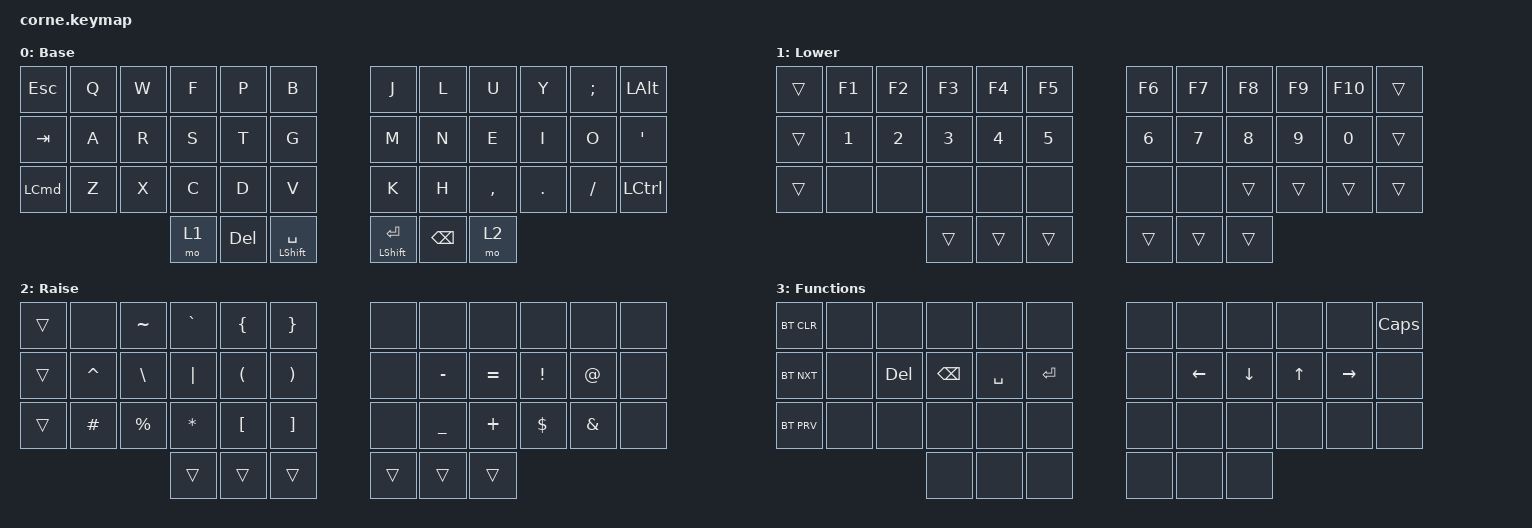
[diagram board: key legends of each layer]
/*
 * Copyright (c) 2020 The ZMK Contributors
 *
 * SPDX-License-Identifier: MIT
 */

#include <behaviors.dtsi>
#include <dt-bindings/zmk/bt.h>
#include <dt-bindings/zmk/keys.h>

/ {
    behaviors {
        spaceshift: spaceshift {
            compatible = "zmk,behavior-hold-tap";
            label = "SPACESHIFT";
            bindings = <&kp>, <&kp>;

            #binding-cells = <2>;
            flavor = "tap-preferred";
            tapping-term-ms = <200>;
            hold-trigger-key-positions = <38>;
        };
    };

    keymap {
        compatible = "zmk,keymap";

        default_layer {
            // -----------------------------------------------------------------------------------------
            // |  TAB |  Q  |  W  |  E  |  R  |  T  |   |  Y  |  U   |  I  |  O  |  P  | BKSP |
            // | CTRL |  A  |  S  |  D  |  F  |  G  |   |  H  |  J   |  K  |  L  |  ;  |  '   |
            // | SHFT |  Z  |  X  |  C  |  V  |  B  |   |  N  |  M   |  ,  |  .  |  /  | ESC  |
            //                    | GUI | LWR | SPC |   | ENT | RSE  | ALT |

            display-name = "Base";
            bindings = <
&kp ESCAPE        &kp Q  &kp W  &kp F  &kp P    &kp B                           &kp J                 &kp L          &kp U      &kp Y    &kp SEMICOLON  &kp LEFT_ALT
&kp TAB           &kp A  &kp R  &kp S  &kp T    &kp G                           &kp M                 &kp N          &kp E      &kp I    &kp O          &kp SINGLE_QUOTE
&kp LEFT_COMMAND  &kp Z  &kp X  &kp C  &kp D    &kp V                           &kp K                 &kp H          &kp COMMA  &kp DOT  &kp FSLH       &kp LEFT_CONTROL
                                &mo 1  &kp DEL  &spaceshift LEFT_SHIFT SPACE    &mt LEFT_SHIFT ENTER  &kp BACKSPACE  &mo 2
            >;
        };

        lower_layer {
            // -----------------------------------------------------------------------------------------
            // |  TAB |  1  |  2  |  3  |  4  |  5  |   |  6  |  7  |  8  |  9  |  0  | BKSP |
            // | BTCLR| BT1 | BT2 | BT3 | BT4 | BT5 |   | LFT | DWN |  UP | RGT |     |      |
            // | SHFT |     |     |     |     |     |   |     |     |     |     |     |      |
            //                    | GUI |     | SPC |   | ENT |     | ALT |

            display-name = "Lower";
            bindings = <
&trans  &kp F1  &kp F2  &kp F3  &kp F4  &kp F5    &kp F6        &kp F7  &kp F8  &kp F9  &kp F10  &trans
&trans  &kp N1  &kp N2  &kp N3  &kp N4  &kp N5    &kp NUMBER_6  &kp N7  &kp N8  &kp N9  &kp N0   &trans
&trans  &none   &none   &none   &none   &none     &none         &none   &trans  &trans  &trans   &trans
                        &trans  &trans  &trans    &trans        &trans  &trans
            >;
        };

        raise_layer {
            // -----------------------------------------------------------------------------------------
            // |  TAB |  !  |  @  |  #  |  $  |  %  |   |  ^  |  &  |  *  |  (  |  )  | BKSP |
            // | CTRL |     |     |     |     |     |   |  -  |  =  |  [  |  ]  |  \  |  `   |
            // | SHFT |     |     |     |     |     |   |  _  |  +  |  {  |  }  | "|" |  ~   |
            //                    | GUI |     | SPC |   | ENT |     | ALT |

            display-name = "Raise";
            bindings = <
&trans  &none      &kp TILDE      &kp GRAVE  &kp LEFT_BRACE        &kp RIGHT_BRACE          &none   &none           &none      &none       &none     &none
&trans  &kp CARET  &kp BACKSLASH  &kp PIPE   &kp LEFT_PARENTHESIS  &kp RIGHT_PARENTHESIS    &none   &kp MINUS       &kp EQUAL  &kp EXCL    &kp AT    &none
&trans  &kp HASH   &kp PERCENT    &kp STAR   &kp LEFT_BRACKET      &kp RIGHT_BRACKET        &none   &kp UNDERSCORE  &kp PLUS   &kp DOLLAR  &kp AMPS  &none
                                  &trans     &trans                &trans                   &trans  &trans          &trans
            >;
        };

        Functions {
            display-name = "Functions";
            bindings = <
&bt BT_CLR  &none  &none       &none          &none      &none        &none  &none     &none     &none   &none      &kp CAPSLOCK
&bt BT_NXT  &none  &kp DELETE  &kp BACKSPACE  &kp SPACE  &kp ENTER    &none  &kp LEFT  &kp DOWN  &kp UP  &kp RIGHT  &none
&bt BT_PRV  &none  &none       &none          &none      &none        &none  &none     &none     &none   &none      &none
                               &none          &none      &none        &none  &none     &none
            >;
        };
    };

    conditional_layers {
        compatible = "zmk,conditional-layers";

        Func {
            if-layers = <1 2>;
            then-layer = <3>;
        };
    };
};
